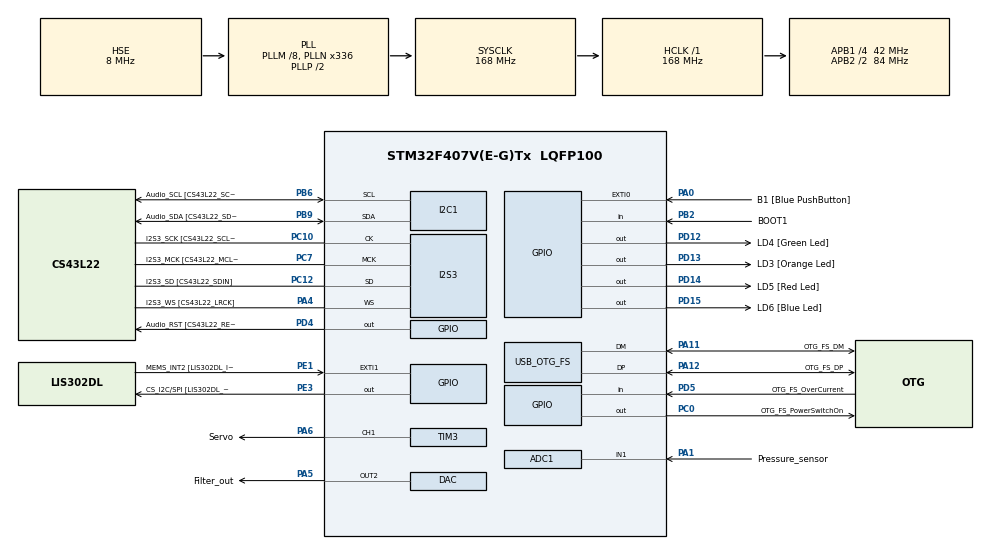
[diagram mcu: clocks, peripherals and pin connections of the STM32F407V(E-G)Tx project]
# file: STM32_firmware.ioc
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ADC1.Channel-1\#ChannelRegularConversion=ADC_CHANNEL_1
ADC1.NbrOfConversionFlag=1
ADC1.Rank-1\#ChannelRegularConversion=1
ADC1.SamplingTime-1\#ChannelRegularConversion=ADC_SAMPLETIME_3CYCLES
ADC1.master=1
I2S3.AudioFreq-Half_Duplex_Master=I2S_AUDIOFREQ_96K
I2S3.ErrorAudioFreq=-2.34 %
I2S3.ErrorAudioFreq-Half_Duplex_Master=0.8 %
I2S3.FullDuplexMode=I2S_FULLDUPLEXMODE_DISABLE
I2S3.Instance=SPI$Index
I2S3.RealAudioFreq=93.75 KHz
I2S3.RealAudioFreq-Half_Duplex_Master=96.774 KHz
I2S3.VirtualMode=I2S_MODE_MASTER
Mcu.Family=STM32F4
Mcu.Name=STM32F407V(E-G)Tx
Mcu.Package=LQFP100
NVIC.OTG_FS_IRQn=true\:0\:0\:false\:false\:true\:true\:true\:true
NVIC.PriorityGroup=NVIC_PRIORITYGROUP_0
NVIC.TIM2_IRQn=true\:0\:0\:false\:false\:true\:true\:true\:true
NVIC.TIM3_IRQn=true\:0\:0\:false\:false\:true\:true\:true\:true
NVIC.TIM4_IRQn=true\:0\:0\:false\:false\:true\:true\:true\:true
PA0-WKUP.GPIO_Label=B1 [Blue PushButton]
PA0-WKUP.GPIO_ModeDefaultEXTI=GPIO_MODE_EVT_RISING
PA0-WKUP.GPIO_PuPd=GPIO_NOPULL
PA0-WKUP.Signal=GPXTI0
PA1.GPIO_Label=Pressure_sensor
PA1.Signal=ADCx_IN1
PA10.GPIO_Label=OTG_FS_ID
PA10.GPIO_Mode=GPIO_MODE_AF_PP
PA10.GPIO_PuPd=GPIO_NOPULL
PA10.GPIO_Speed=GPIO_SPEED_FREQ_LOW
PA10.Signal=USB_OTG_FS_ID
PA11.GPIO_Label=OTG_FS_DM
PA11.GPIO_Mode=GPIO_MODE_AF_PP
PA11.GPIO_PuPd=GPIO_NOPULL
PA11.GPIO_Speed=GPIO_SPEED_FREQ_LOW
PA11.Mode=Device_Only
PA11.Signal=USB_OTG_FS_DM
PA12.GPIO_Label=OTG_FS_DP
PA12.GPIO_Mode=GPIO_MODE_AF_PP
PA12.GPIO_PuPd=GPIO_NOPULL
PA12.GPIO_Speed=GPIO_SPEED_FREQ_LOW
PA12.Mode=Device_Only
PA12.Signal=USB_OTG_FS_DP
PA13.GPIO_Label=SWDIO
PA13.Mode=Serial_Wire
PA13.Signal=SYS_JTMS-SWDIO
PA14.GPIO_Label=SWCLK
PA14.Mode=Serial_Wire
PA14.Signal=SYS_JTCK-SWCLK
PA4.GPIO_Label=I2S3_WS [CS43L22_LRCK]
PA4.GPIO_Mode=GPIO_MODE_AF_PP
PA4.GPIO_PuPd=GPIO_NOPULL
PA4.GPIO_Speed=GPIO_SPEED_FREQ_LOW
PA4.Mode=Half_Duplex_Master
PA4.Signal=I2S3_WS
PA5.GPIO_Label=Filter_out
PA5.Signal=COMP_DAC2_group
PA6.GPIO_Label=Servo
PA6.Signal=S_TIM3_CH1
PA7.GPIO_Label=SPI1_MOSI [LIS302DL_SDA/SDI/SDO]
PA7.GPIO_Mode=GPIO_MODE_AF_PP
PA7.GPIO_PuPd=GPIO_NOPULL
PA7.GPIO_Speed=GPIO_SPEED_FREQ_LOW
PA7.Signal=SPI1_MOSI
PA9.GPIO_Label=VBUS_FS
PA9.GPIO_Mode=GPIO_MODE_INPUT
PA9.GPIO_PuPd=GPIO_NOPULL
PA9.Signal=USB_OTG_FS_VBUS
PB10.GPIO_Label=CLK_IN [MP45DT02_CLK]
PB10.GPIO_Mode=GPIO_MODE_AF_PP
PB10.GPIO_PuPd=GPIO_NOPULL
PB10.GPIO_Speed=GPIO_SPEED_FREQ_LOW
PB10.Signal=I2S2_CK
PB2.GPIO_Label=BOOT1
PB2.GPIO_Mode=GPIO_MODE_INPUT
PB2.GPIO_PuPd=GPIO_NOPULL
PB2.Signal=GPIO_Input
PB3.GPIO_Label=SWO
PB3.Signal=SYS_JTDO-SWO
PB6.GPIO_Label=Audio_SCL [CS43L22_SCL]
PB6.GPIO_Mode=GPIO_MODE_AF_OD
PB6.GPIO_Pu=GPIO_PULLUP
PB6.GPIO_PuPd=GPIO_NOPULL
PB6.GPIO_Speed=GPIO_SPEED_FREQ_LOW
PB6.Mode=I2C
PB6.Signal=I2C1_SCL
PB9.GPIO_Label=Audio_SDA [CS43L22_SDA]
PB9.GPIO_Mode=GPIO_MODE_AF_OD
PB9.GPIO_Pu=GPIO_PULLUP
PB9.GPIO_PuPd=GPIO_NOPULL
PB9.GPIO_Speed=GPIO_SPEED_FREQ_LOW
PB9.Mode=I2C
PB9.Signal=I2C1_SDA
PC0.GPIO_Label=OTG_FS_PowerSwitchOn
PC0.GPIO_PuPd=GPIO_NOPULL
PC0.GPIO_Speed=GPIO_SPEED_FREQ_LOW
PC0.PinState=GPIO_PIN_SET
PC0.Signal=GPIO_Output
PC10.GPIO_Label=I2S3_SCK [CS43L22_SCLK]
PC10.GPIO_Mode=GPIO_MODE_AF_PP
PC10.GPIO_PuPd=GPIO_NOPULL
PC10.GPIO_Speed=GPIO_SPEED_FREQ_LOW
PC10.Mode=Half_Duplex_Master
PC10.Signal=I2S3_CK
PC12.GPIO_Label=I2S3_SD [CS43L22_SDIN]
PC12.GPIO_Mode=GPIO_MODE_AF_PP
PC12.GPIO_PuPd=GPIO_NOPULL
PC12.GPIO_Speed=GPIO_SPEED_FREQ_LOW
PC12.Mode=Half_Duplex_Master
PC12.Signal=I2S3_SD
PC14-OSC32_IN.GPIO_Label=PC14-OSC32_IN
PC14-OSC32_IN.Mode=LSE-External-Oscillator
PC14-OSC32_IN.Signal=RCC_OSC32_IN
PC15-OSC32_OUT.GPIO_Label=PC15-OSC32_OUT
PC15-OSC32_OUT.Mode=LSE-External-Oscillator
PC15-OSC32_OUT.Signal=RCC_OSC32_OUT
PC3.GPIO_Label=PDM_OUT [MP45DT02_DOUT]
PC3.GPIO_Mode=GPIO_MODE_AF_PP
PC3.GPIO_PuPd=GPIO_NOPULL
PC3.GPIO_Speed=GPIO_SPEED_FREQ_LOW
PC3.Signal=I2S2_SD
PC7.GPIO_Label=I2S3_MCK [CS43L22_MCLK]
PC7.GPIO_Mode=GPIO_MODE_AF_PP
PC7.GPIO_PuPd=GPIO_NOPULL
PC7.GPIO_Speed=GPIO_SPEED_FREQ_LOW
PC7.Mode=Master_Clock_Activated
PC7.Signal=I2S3_MCK
PD12.GPIO_Label=LD4 [Green Led]
PD12.GPIO_PuPd=GPIO_NOPULL
PD12.GPIO_Speed=GPIO_SPEED_FREQ_LOW
PD12.Signal=GPIO_Output
PD13.GPIO_Label=LD3 [Orange Led]
PD13.GPIO_PuPd=GPIO_NOPULL
PD13.GPIO_Speed=GPIO_SPEED_FREQ_LOW
PD13.Signal=GPIO_Output
PD14.GPIO_Label=LD5 [Red Led]
PD14.GPIO_PuPd=GPIO_NOPULL
PD14.GPIO_Speed=GPIO_SPEED_FREQ_LOW
PD14.Signal=GPIO_Output
PD15.GPIO_Label=LD6 [Blue Led]
PD15.GPIO_PuPd=GPIO_NOPULL
PD15.GPIO_Speed=GPIO_SPEED_FREQ_LOW
PD15.Signal=GPIO_Output
PD4.GPIO_Label=Audio_RST [CS43L22_RESET]
PD4.GPIO_PuPd=GPIO_NOPULL
PD4.GPIO_Speed=GPIO_SPEED_FREQ_LOW
PD4.Signal=GPIO_Output
PD5.GPIO_Label=OTG_FS_OverCurrent
PD5.GPIO_Mode=GPIO_MODE_INPUT
PD5.GPIO_PuPd=GPIO_NOPULL
PD5.Signal=GPIO_Input
PE1.GPIO_Label=MEMS_INT2 [LIS302DL_INT2]
PE1.GPIO_ModeDefaultEXTI=GPIO_MODE_EVT_RISING
PE1.GPIO_PuPd=GPIO_NOPULL
PE1.Signal=GPXTI1
PE3.GPIO_Label=CS_I2C/SPI [LIS302DL_CS_I2C/SPI]
PE3.GPIO_PuPd=GPIO_NOPULL
PE3.GPIO_Speed=GPIO_SPEED_FREQ_LOW
PE3.Signal=GPIO_Output
PH0-OSC_IN.GPIO_Label=PH0-OSC_IN
PH0-OSC_IN.Mode=HSE-External-Oscillator
PH0-OSC_IN.Signal=RCC_OSC_IN
PH1-OSC_OUT.GPIO_Label=PH1-OSC_OUT
PH1-OSC_OUT.Mode=HSE-External-Oscillator
PH1-OSC_OUT.Signal=RCC_OSC_OUT
ProjectManager.HeapSize=0x200
ProjectManager.StackSize=0x400
ProjectManager.TargetToolchain=STM32CubeIDE
RCC.48MHZClocksFreq_Value=48000000
RCC.AHBFreq_Value=168000000
RCC.APB1CLKDivider=RCC_HCLK_DIV4
RCC.APB1Freq_Value=42000000
RCC.APB1TimFreq_Value=84000000
RCC.APB2CLKDivider=RCC_HCLK_DIV2
RCC.APB2Freq_Value=84000000
RCC.APB2TimFreq_Value=168000000
RCC.CortexFreq_Value=168000000
RCC.HCLKFreq_Value=168000000
RCC.HSE_VALUE=8000000
RCC.HSI_VALUE=16000000
RCC.PLLM=8
RCC.PLLN=336
RCC.PLLQ=7
RCC.SYSCLKFreq_VALUE=168000000
RCC.SYSCLKSource=RCC_SYSCLKSOURCE_PLLCLK
RCC.VCOOutputFreq_Value=336000000
SH.ADCx_IN1.0=ADC1_IN1,IN1
SH.COMP_DAC2_group.0=DAC_OUT2,DAC_OUT2
SH.S_TIM3_CH1.0=TIM3_CH1,PWM Generation1 CH1
TIM2.Period=100-1
TIM2.Prescaler=210-1
TIM3.Channel-PWM\ Generation1\ CH1=TIM_CHANNEL_1
TIM3.Period=10000-1
TIM3.Prescaler=168-1
TIM4.Period=200-1
TIM4.Prescaler=8400-1
USB_DEVICE.CLASS_NAME_FS=CDC
USB_DEVICE.VirtualMode-CDC_FS=Cdc
USB_DEVICE.VirtualModeFS=Cdc_FS
USB_OTG_FS.VirtualMode=Device_Only
VP_TIM2_VS_ClockSourceINT.Mode=Internal
VP_TIM3_VS_ClockSourceINT.Mode=Internal
VP_TIM4_VS_ClockSourceINT.Mode=Internal
VP_USB_DEVICE_VS_USB_DEVICE_CDC_FS.Mode=CDC_FS
board=STM32F407G-DISC1

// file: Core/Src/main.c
/* USER CODE BEGIN Header */
/**
  ******************************************************************************
  * @file           : main.c
  * @brief          : Main program body
  ******************************************************************************
  * @attention
  *
  * Copyright (c) 2025 STMicroelectronics.
  * All rights reserved.
  *
  * This software is licensed under terms that can be found in the LICENSE file
  * in the root directory of this software component.
  * If no LICENSE file comes with this software, it is provided AS-IS.
  *
  ******************************************************************************
  */
/* USER CODE END Header */
#include "main.h"
#include "usb_device.h"

/* USER CODE BEGIN Includes */
#include <stdio.h>
#include <string.h>
#include "usbd_cdc_if.h"
#include "gripper.h"
/* USER CODE END Includes */

/* USER CODE BEGIN PTD */
#define FIR_LENGHT 6

#define CCR_MAX 1250
#define CCR_MIN 250

/* USER CODE END PTD */

ADC_HandleTypeDef hadc1;

DAC_HandleTypeDef hdac;

I2C_HandleTypeDef hi2c1;

I2S_HandleTypeDef hi2s3;

TIM_HandleTypeDef htim2;
TIM_HandleTypeDef htim3;
TIM_HandleTypeDef htim4;

/* USER CODE BEGIN PV */
uint16_t pressure = 0;
float voltage =0;
float voltage_filt=0;
int Timer_val=0;
float peso;
volatile uint8_t usb_send_flag = 0;
char usb_msg_buffer[128];  // You can double-buffer if needed

//char msg[20];

// coefficients

float fir_coefficients[200];
float buffer_fir[200];
int16_t counter_fir;
float fir_out;
int index_fir;

// Gripper control
Gripper gripperState = CONTROL;
float setPoint = 0.0f;
float error = 0.0f;

char buffer[32];

/* USER CODE END PV */

void SystemClock_Config(void);
static void MX_GPIO_Init(void);
static void MX_I2C1_Init(void);
static void MX_I2S3_Init(void);
static void MX_ADC1_Init(void);
static void MX_DAC_Init(void);
static void MX_TIM2_Init(void);
static void MX_TIM3_Init(void);
static void MX_TIM4_Init(void);

/* USER CODE BEGIN 0 */
float filter( float x);

int limit_ccr(int lower_bound, int upper_bound, int ccr);
void gripperControl(float error);
void gripperHandler(Gripper gripperState, float error);
/* USER CODE END 0 */

int main(void)
{

  /* MCU Configuration--------------------------------------------------------*/

  /* Reset of all peripherals, Initializes the Flash interface and the Systick. */
  HAL_Init();

  /* Configure the system clock */
  SystemClock_Config();

  /* Initialize all configured peripherals */
  MX_GPIO_Init();
  MX_I2C1_Init();
  MX_I2S3_Init();
  MX_ADC1_Init();
  MX_DAC_Init();
  MX_TIM2_Init();
  MX_USB_DEVICE_Init();
  MX_TIM3_Init();
  MX_TIM4_Init();
  /* USER CODE BEGIN 2 */
  HAL_TIM_Base_Start_IT(&htim2);
  HAL_TIM_Base_Start_IT(&htim4);

  HAL_TIM_PWM_Start(&htim3, TIM_CHANNEL_1);	// start the pwm

  /* USER CODE END 2 */

  /* Infinite loop */
  while (1)
  {

    /* USER CODE BEGIN 3 */
    HAL_ADC_Start(&hadc1);
    HAL_ADC_PollForConversion(&hadc1, 0.25 );
    peso = (-2092.8 * voltage_filt * voltage_filt * voltage_filt + 18651 * voltage_filt * voltage_filt - 55684 * voltage_filt+ 55852);

    setPoint = 100.0f;
    error = setPoint - peso;

    Timer_val = __HAL_TIM_GET_COUNTER(&htim2);

    if (usb_send_flag) {
            if (CDC_Transmit_FS((uint8_t*)usb_msg_buffer, strlen(usb_msg_buffer)) == USBD_OK) {
                usb_send_flag = 0;
            }
            // Else: USBD_BUSY → retry on next loop
        }

  }
  /* USER CODE END 3 */
}

void SystemClock_Config(void)
{
  RCC_OscInitTypeDef RCC_OscInitStruct = {0};
  RCC_ClkInitTypeDef RCC_ClkInitStruct = {0};

  /** Configure the main internal regulator output voltage
  */
  __HAL_RCC_PWR_CLK_ENABLE();
  __HAL_PWR_VOLTAGESCALING_CONFIG(PWR_REGULATOR_VOLTAGE_SCALE1);

  /** Initializes the RCC Oscillators according to the specified parameters
  * in the RCC_OscInitTypeDef structure.
  */
  RCC_OscInitStruct.OscillatorType = RCC_OSCILLATORTYPE_HSE;
  RCC_OscInitStruct.HSEState = RCC_HSE_ON;
  RCC_OscInitStruct.PLL.PLLState = RCC_PLL_ON;
  RCC_OscInitStruct.PLL.PLLSource = RCC_PLLSOURCE_HSE;
  RCC_OscInitStruct.PLL.PLLM = 8;
  RCC_OscInitStruct.PLL.PLLN = 336;
  RCC_OscInitStruct.PLL.PLLP = RCC_PLLP_DIV2;
  RCC_OscInitStruct.PLL.PLLQ = 7;
  if (HAL_RCC_OscConfig(&RCC_OscInitStruct) != HAL_OK)
  {
    Error_Handler();
  }

  /** Initializes the CPU, AHB and APB buses clocks
  */
  RCC_ClkInitStruct.ClockType = RCC_CLOCKTYPE_HCLK|RCC_CLOCKTYPE_SYSCLK
                              |RCC_CLOCKTYPE_PCLK1|RCC_CLOCKTYPE_PCLK2;
  RCC_ClkInitStruct.SYSCLKSource = RCC_SYSCLKSOURCE_PLLCLK;
  RCC_ClkInitStruct.AHBCLKDivider = RCC_SYSCLK_DIV1;
  RCC_ClkInitStruct.APB1CLKDivider = RCC_HCLK_DIV4;
  RCC_ClkInitStruct.APB2CLKDivider = RCC_HCLK_DIV2;

  if (HAL_RCC_ClockConfig(&RCC_ClkInitStruct, FLASH_LATENCY_5) != HAL_OK)
  {
    Error_Handler();
  }
}

static void MX_ADC1_Init(void)
{

  ADC_ChannelConfTypeDef sConfig = {0};

  /** Configure the global features of the ADC (Clock, Resolution, Data Alignment and number of conversion)
  */
  hadc1.Instance = ADC1;
  hadc1.Init.ClockPrescaler = ADC_CLOCK_SYNC_PCLK_DIV4;
  hadc1.Init.Resolution = ADC_RESOLUTION_12B;
  hadc1.Init.ScanConvMode = DISABLE;
  hadc1.Init.ContinuousConvMode = DISABLE;
  hadc1.Init.DiscontinuousConvMode = DISABLE;
  hadc1.Init.ExternalTrigConvEdge = ADC_EXTERNALTRIGCONVEDGE_NONE;
  hadc1.Init.ExternalTrigConv = ADC_SOFTWARE_START;
  hadc1.Init.DataAlign = ADC_DATAALIGN_RIGHT;
  hadc1.Init.NbrOfConversion = 1;
  hadc1.Init.DMAContinuousRequests = DISABLE;
  hadc1.Init.EOCSelection = ADC_EOC_SINGLE_CONV;
  if (HAL_ADC_Init(&hadc1) != HAL_OK)
  {
    Error_Handler();
  }

  /** Configure for the selected ADC regular channel its corresponding rank in the sequencer and its sample time.
  */
  sConfig.Channel = ADC_CHANNEL_1;
  sConfig.Rank = 1;
  sConfig.SamplingTime = ADC_SAMPLETIME_3CYCLES;
  if (HAL_ADC_ConfigChannel(&hadc1, &sConfig) != HAL_OK)
  {
    Error_Handler();
  }

}

static void MX_DAC_Init(void)
{

  DAC_ChannelConfTypeDef sConfig = {0};

  /** DAC Initialization
  */
  hdac.Instance = DAC;
  if (HAL_DAC_Init(&hdac) != HAL_OK)
  {
    Error_Handler();
  }

  /** DAC channel OUT2 config
  */
  sConfig.DAC_Trigger = DAC_TRIGGER_NONE;
  sConfig.DAC_OutputBuffer = DAC_OUTPUTBUFFER_ENABLE;
  if (HAL_DAC_ConfigChannel(&hdac, &sConfig, DAC_CHANNEL_2) != HAL_OK)
  {
    Error_Handler();
  }

}

static void MX_I2C1_Init(void)
{

  hi2c1.Instance = I2C1;
  hi2c1.Init.ClockSpeed = 100000;
  hi2c1.Init.DutyCycle = I2C_DUTYCYCLE_2;
  hi2c1.Init.OwnAddress1 = 0;
  hi2c1.Init.AddressingMode = I2C_ADDRESSINGMODE_7BIT;
  hi2c1.Init.DualAddressMode = I2C_DUALADDRESS_DISABLE;
  hi2c1.Init.OwnAddress2 = 0;
  hi2c1.Init.GeneralCallMode = I2C_GENERALCALL_DISABLE;
  hi2c1.Init.NoStretchMode = I2C_NOSTRETCH_DISABLE;
  if (HAL_I2C_Init(&hi2c1) != HAL_OK)
  {
    Error_Handler();
  }

}

static void MX_I2S3_Init(void)
{

  hi2s3.Instance = SPI3;
  hi2s3.Init.Mode = I2S_MODE_MASTER_TX;
  hi2s3.Init.Standard = I2S_STANDARD_PHILIPS;
  hi2s3.Init.DataFormat = I2S_DATAFORMAT_16B;
  hi2s3.Init.MCLKOutput = I2S_MCLKOUTPUT_ENABLE;
  hi2s3.Init.AudioFreq = I2S_AUDIOFREQ_96K;
  hi2s3.Init.CPOL = I2S_CPOL_LOW;
  hi2s3.Init.ClockSource = I2S_CLOCK_PLL;
  hi2s3.Init.FullDuplexMode = I2S_FULLDUPLEXMODE_DISABLE;
  if (HAL_I2S_Init(&hi2s3) != HAL_OK)
  {
    Error_Handler();
  }

}

static void MX_TIM2_Init(void)
{

  TIM_ClockConfigTypeDef sClockSourceConfig = {0};
  TIM_MasterConfigTypeDef sMasterConfig = {0};

  htim2.Instance = TIM2;
  htim2.Init.Prescaler = 210-1;
  htim2.Init.CounterMode = TIM_COUNTERMODE_UP;
  htim2.Init.Period = 100-1;
  htim2.Init.ClockDivision = TIM_CLOCKDIVISION_DIV1;
  htim2.Init.AutoReloadPreload = TIM_AUTORELOAD_PRELOAD_DISABLE;
  if (HAL_TIM_Base_Init(&htim2) != HAL_OK)
  {
    Error_Handler();
  }
  sClockSourceConfig.ClockSource = TIM_CLOCKSOURCE_INTERNAL;
  if (HAL_TIM_ConfigClockSource(&htim2, &sClockSourceConfig) != HAL_OK)
  {
    Error_Handler();
  }
  sMasterConfig.MasterOutputTrigger = TIM_TRGO_RESET;
  sMasterConfig.MasterSlaveMode = TIM_MASTERSLAVEMODE_DISABLE;
  if (HAL_TIMEx_MasterConfigSynchronization(&htim2, &sMasterConfig) != HAL_OK)
  {
    Error_Handler();
  }

}

static void MX_TIM3_Init(void)
{

  TIM_ClockConfigTypeDef sClockSourceConfig = {0};
  TIM_MasterConfigTypeDef sMasterConfig = {0};
  TIM_OC_InitTypeDef sConfigOC = {0};

  htim3.Instance = TIM3;
  htim3.Init.Prescaler = 168-1;
  htim3.Init.CounterMode = TIM_COUNTERMODE_UP;
  htim3.Init.Period = 10000-1;
  htim3.Init.ClockDivision = TIM_CLOCKDIVISION_DIV1;
  htim3.Init.AutoReloadPreload = TIM_AUTORELOAD_PRELOAD_DISABLE;
  if (HAL_TIM_Base_Init(&htim3) != HAL_OK)
  {
    Error_Handler();
  }
  sClockSourceConfig.ClockSource = TIM_CLOCKSOURCE_INTERNAL;
  if (HAL_TIM_ConfigClockSource(&htim3, &sClockSourceConfig) != HAL_OK)
  {
    Error_Handler();
  }
  if (HAL_TIM_PWM_Init(&htim3) != HAL_OK)
  {
    Error_Handler();
  }
  sMasterConfig.MasterOutputTrigger = TIM_TRGO_RESET;
  sMasterConfig.MasterSlaveMode = TIM_MASTERSLAVEMODE_DISABLE;
  if (HAL_TIMEx_MasterConfigSynchronization(&htim3, &sMasterConfig) != HAL_OK)
  {
    Error_Handler();
  }
  sConfigOC.OCMode = TIM_OCMODE_PWM1;
  sConfigOC.Pulse = 0;
  sConfigOC.OCPolarity = TIM_OCPOLARITY_HIGH;
  sConfigOC.OCFastMode = TIM_OCFAST_DISABLE;
  if (HAL_TIM_PWM_ConfigChannel(&htim3, &sConfigOC, TIM_CHANNEL_1) != HAL_OK)
  {
    Error_Handler();
  }
  HAL_TIM_MspPostInit(&htim3);

}

static void MX_TIM4_Init(void)
{

  TIM_ClockConfigTypeDef sClockSourceConfig = {0};
  TIM_MasterConfigTypeDef sMasterConfig = {0};

  htim4.Instance = TIM4;
  htim4.Init.Prescaler = 8400-1;
  htim4.Init.CounterMode = TIM_COUNTERMODE_UP;
  htim4.Init.Period = 200-1;
  htim4.Init.ClockDivision = TIM_CLOCKDIVISION_DIV1;
  htim4.Init.AutoReloadPreload = TIM_AUTORELOAD_PRELOAD_DISABLE;
  if (HAL_TIM_Base_Init(&htim4) != HAL_OK)
  {
    Error_Handler();
  }
  sClockSourceConfig.ClockSource = TIM_CLOCKSOURCE_INTERNAL;
  if (HAL_TIM_ConfigClockSource(&htim4, &sClockSourceConfig) != HAL_OK)
  {
    Error_Handler();
  }
  sMasterConfig.MasterOutputTrigger = TIM_TRGO_RESET;
  sMasterConfig.MasterSlaveMode = TIM_MASTERSLAVEMODE_DISABLE;
  if (HAL_TIMEx_MasterConfigSynchronization(&htim4, &sMasterConfig) != HAL_OK)
  {
    Error_Handler();
  }

}

static void MX_GPIO_Init(void)
{
  GPIO_InitTypeDef GPIO_InitStruct = {0};

  /* GPIO Ports Clock Enable */
  __HAL_RCC_GPIOE_CLK_ENABLE();
  __HAL_RCC_GPIOC_CLK_ENABLE();
  __HAL_RCC_GPIOH_CLK_ENABLE();
  __HAL_RCC_GPIOA_CLK_ENABLE();
  __HAL_RCC_GPIOB_CLK_ENABLE();
  __HAL_RCC_GPIOD_CLK_ENABLE();

  /*Configure GPIO pin Output Level */
  HAL_GPIO_WritePin(CS_I2C_SPI_GPIO_Port, CS_I2C_SPI_Pin, GPIO_PIN_RESET);

  /*Configure GPIO pin Output Level */
  HAL_GPIO_WritePin(OTG_FS_PowerSwitchOn_GPIO_Port, OTG_FS_PowerSwitchOn_Pin, GPIO_PIN_SET);

  /*Configure GPIO pin Output Level */
  HAL_GPIO_WritePin(GPIOD, LD4_Pin|LD3_Pin|LD5_Pin|LD6_Pin
                          |Audio_RST_Pin, GPIO_PIN_RESET);

  /*Configure GPIO pin : CS_I2C_SPI_Pin */
  GPIO_InitStruct.Pin = CS_I2C_SPI_Pin;
  GPIO_InitStruct.Mode = GPIO_MODE_OUTPUT_PP;
  GPIO_InitStruct.Pull = GPIO_NOPULL;
  GPIO_InitStruct.Speed = GPIO_SPEED_FREQ_LOW;
  HAL_GPIO_Init(CS_I2C_SPI_GPIO_Port, &GPIO_InitStruct);

  /*Configure GPIO pin : OTG_FS_PowerSwitchOn_Pin */
  GPIO_InitStruct.Pin = OTG_FS_PowerSwitchOn_Pin;
  GPIO_InitStruct.Mode = GPIO_MODE_OUTPUT_PP;
  GPIO_InitStruct.Pull = GPIO_NOPULL;
  GPIO_InitStruct.Speed = GPIO_SPEED_FREQ_LOW;
  HAL_GPIO_Init(OTG_FS_PowerSwitchOn_GPIO_Port, &GPIO_InitStruct);

  /*Configure GPIO pin : PDM_OUT_Pin */
  GPIO_InitStruct.Pin = PDM_OUT_Pin;
  GPIO_InitStruct.Mode = GPIO_MODE_AF_PP;
  GPIO_InitStruct.Pull = GPIO_NOPULL;
  GPIO_InitStruct.Speed = GPIO_SPEED_FREQ_LOW;
  GPIO_InitStruct.Alternate = GPIO_AF5_SPI2;
  HAL_GPIO_Init(PDM_OUT_GPIO_Port, &GPIO_InitStruct);

  /*Configure GPIO pin : B1_Pin */
  GPIO_InitStruct.Pin = B1_Pin;
  GPIO_InitStruct.Mode = GPIO_MODE_EVT_RISING;
  GPIO_InitStruct.Pull = GPIO_NOPULL;
  HAL_GPIO_Init(B1_GPIO_Port, &GPIO_InitStruct);

  /*Configure GPIO pin : SPI1_MOSI_Pin */
  GPIO_InitStruct.Pin = SPI1_MOSI_Pin;
  GPIO_InitStruct.Mode = GPIO_MODE_AF_PP;
  GPIO_InitStruct.Pull = GPIO_NOPULL;
  GPIO_InitStruct.Speed = GPIO_SPEED_FREQ_LOW;
  GPIO_InitStruct.Alternate = GPIO_AF5_SPI1;
  HAL_GPIO_Init(SPI1_MOSI_GPIO_Port, &GPIO_InitStruct);

  /*Configure GPIO pin : BOOT1_Pin */
  GPIO_InitStruct.Pin = BOOT1_Pin;
  GPIO_InitStruct.Mode = GPIO_MODE_INPUT;
  GPIO_InitStruct.Pull = GPIO_NOPULL;
  HAL_GPIO_Init(BOOT1_GPIO_Port, &GPIO_InitStruct);

  /*Configure GPIO pin : CLK_IN_Pin */
  GPIO_InitStruct.Pin = CLK_IN_Pin;
  GPIO_InitStruct.Mode = GPIO_MODE_AF_PP;
  GPIO_InitStruct.Pull = GPIO_NOPULL;
  GPIO_InitStruct.Speed = GPIO_SPEED_FREQ_LOW;
  GPIO_InitStruct.Alternate = GPIO_AF5_SPI2;
  HAL_GPIO_Init(CLK_IN_GPIO_Port, &GPIO_InitStruct);

  /*Configure GPIO pins : LD4_Pin LD3_Pin LD5_Pin LD6_Pin
                           Audio_RST_Pin */
  GPIO_InitStruct.Pin = LD4_Pin|LD3_Pin|LD5_Pin|LD6_Pin
                          |Audio_RST_Pin;
  GPIO_InitStruct.Mode = GPIO_MODE_OUTPUT_PP;
  GPIO_InitStruct.Pull = GPIO_NOPULL;
  GPIO_InitStruct.Speed = GPIO_SPEED_FREQ_LOW;
  HAL_GPIO_Init(GPIOD, &GPIO_InitStruct);

  /*Configure GPIO pin : OTG_FS_OverCurrent_Pin */
  GPIO_InitStruct.Pin = OTG_FS_OverCurrent_Pin;
  GPIO_InitStruct.Mode = GPIO_MODE_INPUT;
  GPIO_InitStruct.Pull = GPIO_NOPULL;
  HAL_GPIO_Init(OTG_FS_OverCurrent_GPIO_Port, &GPIO_InitStruct);

  /*Configure GPIO pin : MEMS_INT2_Pin */
  GPIO_InitStruct.Pin = MEMS_INT2_Pin;
  GPIO_InitStruct.Mode = GPIO_MODE_EVT_RISING;
  GPIO_InitStruct.Pull = GPIO_NOPULL;
  HAL_GPIO_Init(MEMS_INT2_GPIO_Port, &GPIO_InitStruct);

}

/* USER CODE BEGIN 4 */
float filter(float x) {
    // Shift previous samples
    float out;

	for(int i=0;i<200;i++){
		fir_coefficients[i]=1;
	}

    for(int i=0;i<199;i++){
    	buffer_fir[i]=buffer_fir[i+1];
    }

    buffer_fir[199]=x;
    out=0;

    for(int i = 0;i<200;i++){
    	out += (float)buffer_fir[i]/200;
    }

    return out;
}

void HAL_TIM_PeriodElapsedCallback(TIM_HandleTypeDef *htim){
	if (htim == &htim2){
		HAL_GPIO_TogglePin(LD4_GPIO_Port, LD4_Pin);
		pressure = HAL_ADC_GetValue(&hadc1);
		voltage=((float)pressure)* 3.3f /4095.0f;

		//Filter
		fir_out=filter(pressure);
		voltage_filt=((float)fir_out)*3.3f/4095.0f;

	}

	if (htim == &htim4){

		// every
		HAL_GPIO_TogglePin(LD5_GPIO_Port, LD5_Pin);
		gripperHandler(gripperState, error);

		if (!usb_send_flag) {
			snprintf(usb_msg_buffer, sizeof(usb_msg_buffer),
					 "fuerza sensada: %08.4f, set point: %08.4f, error: %08.4f, accion: %04lu\r\n"/*, voltage raw: %08.4f, voltage filtered: %08.4f"*/,
					 peso, setPoint, error, TIM3->CCR1/*, voltage,voltage_filt*/);

			usb_send_flag = 1;
		}

	}

}

int limit_ccr(int lower_bound, int upper_bound, int ccr){
	if(ccr > upper_bound){
		return upper_bound;
	}
	else if (ccr < lower_bound){
		return lower_bound;
	}
	else{
		return ccr;
	}
}

void gripperControl(float error){
	float curr_CCR = (float)(htim3.Instance->CCR1);
	float kp = 0.1f;

	curr_CCR += kp*error;

	htim3.Instance->CCR1=limit_ccr(CCR_MIN, CCR_MAX,(int)curr_CCR);

}

void gripperHandler(Gripper gripperState, float error){
	switch (gripperState) {
	    	case START:
	    		htim3.Instance->CCR1 = CCR_MIN;  // 1.12 ms pulse : start position
	    		break;

	    	case CONTROL:
	    		gripperControl(error);  // 1.72 ms pulse : mid-range control
	    		break;

	    	case END:
	    		htim3.Instance->CCR1 = 750-1;  // 1.92 ms pulse : end position
	    		break;

	    	case IDLE:							// sets the servo motor to idle, no control
	    		htim3.Instance->CCR1 = 0;
	    		break;
	}
}

/* USER CODE END 4 */

void Error_Handler(void)
{
  /* USER CODE BEGIN Error_Handler_Debug */
  /* User can add his own implementation to report the HAL error return state */
  __disable_irq();
  while (1)
  {}
  /* USER CODE END Error_Handler_Debug */
}
